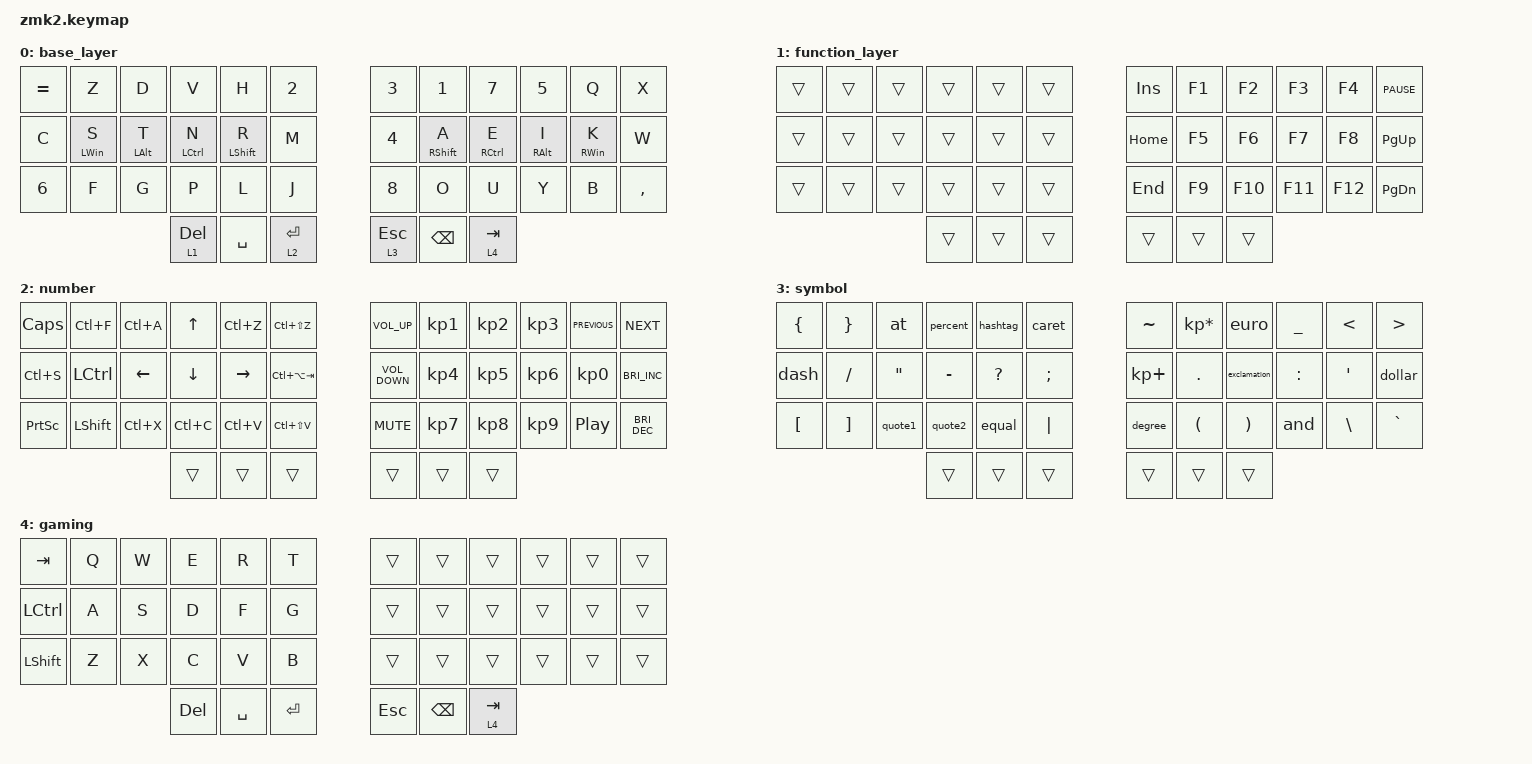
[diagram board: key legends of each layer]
#include <behaviors.dtsi>
#include <dt-bindings/zmk/keys.h>

&mt {
    flavor = "tap-preferred";
    tapping-term-ms = <200>;
    quick-tap-ms = <180>;
};

&lt {
    tapping-term-ms = <200>;
    quick-tap-ms = <180>;
};

/ {
    macros {
        dash: dash {
            compatible = "zmk,behavior-macro";
            #binding-cells = <0>;
            bindings =
                <&macro_press>,
                <&kp LALT>,
                <&macro_tap>,
                <&kp KP_N0 &kp KP_N1 &kp KP_N5 &kp KP_N0>,
                <&macro_release>,
                <&kp LALT>;

            label = "DASH";
        };

        quote1: quote1 {
            compatible = "zmk,behavior-macro";
            #binding-cells = <0>;
            bindings =
                <&macro_press>,
                <&kp LALT>,
                <&macro_tap>,
                <&kp KP_N0 &kp KP_N1 &kp KP_N3 &kp KP_N2>,
                <&macro_release>,
                <&kp LALT>;

            label = "QUOTE1";
        };

        quote2: quote2 {
            compatible = "zmk,behavior-macro";
            #binding-cells = <0>;
            bindings =
                <&macro_press>,
                <&kp LALT>,
                <&macro_tap>,
                <&kp KP_N0 &kp KP_N1 &kp KP_N4 &kp KP_N7>,
                <&macro_release>,
                <&kp LALT>;

            label = "QUOTE2";
        };

        degree: degree {
            compatible = "zmk,behavior-macro";
            #binding-cells = <0>;
            bindings =
                <&macro_press>,
                <&kp LALT>,
                <&macro_tap>,
                <&kp KP_N0 &kp KP_N1 &kp KP_N7 &kp KP_N6>,
                <&macro_release>,
                <&kp LALT>;

            label = "DEGREE";
        };

        at: at {
            compatible = "zmk,behavior-macro";
            #binding-cells = <0>;
            bindings =
                <&macro_press>,
                <&kp LALT>,
                <&macro_tap>,
                <&kp KP_N6 &kp KP_N4>,
                <&macro_release>,
                <&kp LALT>;

            label = "AT";
        };

        percent: percent {
            compatible = "zmk,behavior-macro";
            #binding-cells = <0>;
            bindings =
                <&macro_press>,
                <&kp LALT>,
                <&macro_tap>,
                <&kp KP_N3 &kp KP_N7>,
                <&macro_release>,
                <&kp LALT>;

            label = "PERCENT";
        };

        hashtag: hashtag {
            compatible = "zmk,behavior-macro";
            #binding-cells = <0>;
            bindings =
                <&macro_press>,
                <&kp LALT>,
                <&macro_tap>,
                <&kp KP_N3 &kp KP_N5>,
                <&macro_release>,
                <&kp LALT>;

            label = "HASHTAG";
        };

        caret: caret {
            compatible = "zmk,behavior-macro";
            #binding-cells = <0>;
            bindings =
                <&macro_press>,
                <&kp LALT>,
                <&macro_tap>,
                <&kp KP_N9 &kp KP_N4>,
                <&macro_release>,
                <&kp LALT>;

            label = "CARET";
        };

        equal: equal {
            compatible = "zmk,behavior-macro";
            #binding-cells = <0>;
            bindings =
                <&macro_press>,
                <&kp LALT>,
                <&macro_tap>,
                <&kp KP_N6 &kp KP_N1>,
                <&macro_release>,
                <&kp LALT>;

            label = "EQUAL";
        };

        euro: euro {
            compatible = "zmk,behavior-macro";
            #binding-cells = <0>;
            bindings =
                <&macro_press>,
                <&kp LALT>,
                <&macro_tap>,
                <&kp KP_N0 &kp KP_N1 &kp KP_N2 &kp KP_N8>,
                <&macro_release>,
                <&kp LALT>;

            label = "EURO";
        };

        exclamation: exclamation {
            compatible = "zmk,behavior-macro";
            #binding-cells = <0>;
            bindings =
                <&macro_press>,
                <&kp LALT>,
                <&macro_tap>,
                <&kp KP_N3 &kp KP_N3>,
                <&macro_release>,
                <&kp LALT>;

            label = "EXCLAMATION";
        };

        dollar: dollar {
            compatible = "zmk,behavior-macro";
            #binding-cells = <0>;
            bindings =
                <&macro_press>,
                <&kp LALT>,
                <&macro_tap>,
                <&kp KP_N3 &kp KP_N6>,
                <&macro_release>,
                <&kp LALT>;

            label = "DOLLAR";
        };

        and: and {
            compatible = "zmk,behavior-macro";
            #binding-cells = <0>;
            bindings =
                <&macro_press>,
                <&kp LALT>,
                <&macro_tap>,
                <&kp KP_N3 &kp KP_N8>,
                <&macro_release>,
                <&kp LALT>;

            label = "AND";
        };
    };

    behaviors {
        togkp: togkp {
            compatible = "zmk,behavior-hold-tap";
            label = "TOGKP";
            bindings = <&tog>, <&kp>;

            #binding-cells = <2>;
            tapping-term-ms = <200>;
            flavor = "tap-preferred";
            quick-tap-ms = <180>;
        };
    };

    keymap {
        compatible = "zmk,keymap";

        base {
            display-name = "base_layer";
            bindings = <
&kp EQUAL  &kp Z           &kp D           &kp V               &kp H             &kp N2       &kp N3        &kp N1             &kp N7               &kp N5           &kp Q            &kp X
&kp C      &mt LEFT_WIN S  &mt LEFT_ALT T  &mt LEFT_CONTROL N  &mt LEFT_SHIFT R  &kp M        &kp N4        &mt RIGHT_SHIFT A  &mt RIGHT_CONTROL E  &mt RIGHT_ALT I  &mt RIGHT_WIN K  &kp W
&kp N6     &kp F           &kp G           &kp P               &kp L             &kp J        &kp N8        &kp O              &kp U                &kp Y            &kp B            &kp COMMA
                                           &lt 1 DELETE        &kp SPACE         &lt 2 ENTER  &lt 3 ESCAPE  &kp BACKSPACE      &togkp 4 TAB
            >;
        };

        // Minimalus antras sluoksnis, kad Studio pamatytų

        function {
            display-name = "function_layer";
            bindings = <
&trans  &trans  &trans  &trans  &trans  &trans  &kp INSERT  &kp F1  &kp F2   &kp F3   &kp F4   &kp C_PAUSE
&trans  &trans  &trans  &trans  &trans  &trans  &kp HOME    &kp F5  &kp F6   &kp F7   &kp F8   &kp PAGE_UP
&trans  &trans  &trans  &trans  &trans  &trans  &kp END     &kp F9  &kp F10  &kp F11  &kp F12  &kp PAGE_DOWN
                        &trans  &trans  &trans  &trans      &trans  &trans
            >;
        };

        number {
            bindings = <
&kp CAPSLOCK     &kp LC(F)         &kp LC(A)  &kp UP     &kp LC(Z)  &kp LC(LS(Z))    &kp C_VOLUME_UP    &kp KP_NUMBER_1  &kp KP_NUMBER_2  &kp KP_NUMBER_3  &kp C_PREVIOUS    &kp C_NEXT
&kp LC(S)        &kp LEFT_CONTROL  &kp LEFT   &kp DOWN   &kp RIGHT  &kp LC(LA(TAB))  &kp C_VOLUME_DOWN  &kp KP_NUMBER_4  &kp KP_NUMBER_5  &kp KP_NUMBER_6  &kp KP_NUMBER_0   &kp C_BRIGHTNESS_INC
&kp PRINTSCREEN  &kp LEFT_SHIFT    &kp LC(X)  &kp LC(C)  &kp LC(V)  &kp LC(LS(V))    &kp C_MUTE         &kp KP_NUMBER_7  &kp KP_NUMBER_8  &kp KP_NUMBER_9  &kp C_PLAY_PAUSE  &kp C_BRIGHTNESS_DEC
                                              &trans     &trans     &trans           &trans             &trans           &trans
            >;
        };

        symbol {
            bindings = <
&kp LEFT_BRACE    &kp RIGHT_BRACE    &at                &percent   &hashtag      &caret         &kp TILDE    &kp KP_ASTERISK       &euro                  &kp UNDERSCORE  &kp LESS_THAN   &kp GREATER_THAN
&dash             &kp SLASH          &kp DOUBLE_QUOTES  &kp MINUS  &kp QUESTION  &kp SEMICOLON  &kp KP_PLUS  &kp PERIOD            &exclamation           &kp COLON       &kp APOSTROPHE  &dollar
&kp LEFT_BRACKET  &kp RIGHT_BRACKET  &quote1            &quote2    &equal        &kp PIPE       &degree      &kp LEFT_PARENTHESIS  &kp RIGHT_PARENTHESIS  &and            &kp BACKSLASH   &kp GRAVE
                                                        &trans     &trans        &trans         &trans       &trans                &trans
            >;
        };

        gaming {
            bindings = <
&kp TAB           &kp Q  &kp W  &kp E       &kp R      &kp T      &trans      &trans         &trans        &trans  &trans  &trans
&kp LEFT_CONTROL  &kp A  &kp S  &kp D       &kp F      &kp G      &trans      &trans         &trans        &trans  &trans  &trans
&kp LEFT_SHIFT    &kp Z  &kp X  &kp C       &kp V      &kp B      &trans      &trans         &trans        &trans  &trans  &trans
                                &kp DELETE  &kp SPACE  &kp ENTER  &kp ESCAPE  &kp BACKSPACE  &togkp 4 TAB
            >;
        };
    };
};
